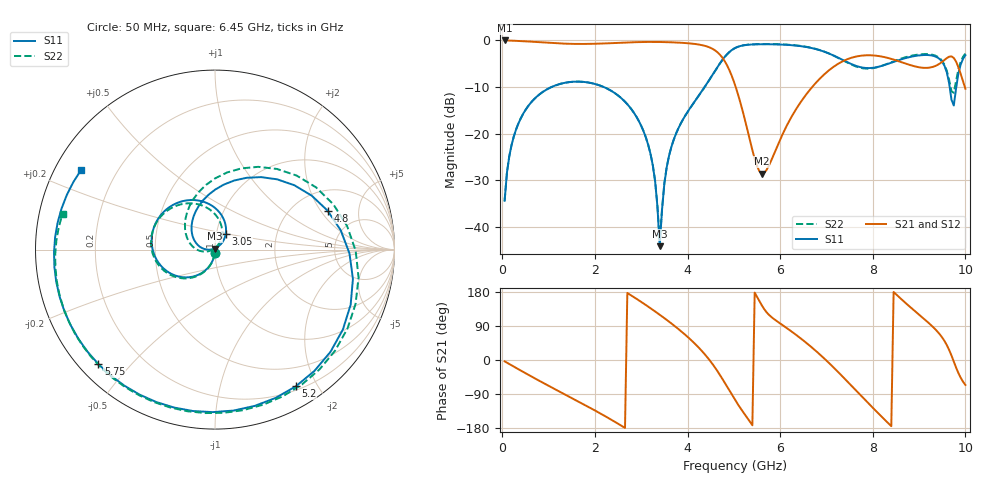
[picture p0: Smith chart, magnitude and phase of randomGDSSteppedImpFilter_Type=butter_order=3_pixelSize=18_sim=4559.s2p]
! freq	dB(S11)	phase(S11)	dB(S12)	phase(S12)
!  dB(S21)	phase(S21)	dB(S22)	phase(S22)
!S-par simulation data
#  GHz  S  DB  R 50
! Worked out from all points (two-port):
!   200 points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, 50 MHz to 10 GHz, reference 50 ohm
!   highest |S21| = 0.00 dB at 50 MHz (marker M1); lowest = -28.5 dB at 5.6 GHz (marker M2)
!   |S21| within 3 dB of the highest: start of sweep to 4.694 GHz
!   lowest |S11| = -44.1 dB at 3.4 GHz (marker M3), VSWR 1.01, Z = 49.8 + j0.589 ohm
!   |S11| at or under -10 dB: start of sweep to 1.059 GHz; 2.196 GHz to 4.367 GHz (2.171 GHz wide, 66.2 % of centre); 9.661 GHz to 9.803 GHz (141.7 MHz wide, 1.46 % of centre)
!   |S22| runs from -43.0 to -0.8 dB; largest |S21 - S12| = 0
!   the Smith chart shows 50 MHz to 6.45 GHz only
!   S11 on the Smith chart (normalised r, x): 50 MHz: 1.00, -0.04; 3.05 GHz: 1.11, +0.20; 4.8 GHz: 3.00, +2.33; 5.2 GHz: 0.25, -1.73; 5.75 GHz: 0.05, -0.41; 6.45 GHz: 0.08, +0.27
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0.05  -34.36 -93.4  -0.00 -3.5  -0.00 -3.5  -34.36 -93.3
0.5  -14.91 -126.0  -0.19 -34.8  -0.19 -34.8  -14.91 -124.5
1.75  -8.88 150.3  -0.75 -116.6  -0.75 -116.6  -8.88 155.9
3.05  -19.45 55.8  -0.33 149.2  -0.33 149.2  -19.45 67.8
3.3  -30.15 42.6  -0.32 128.1  -0.32 128.1  -30.11 57.4
3.4  -44.08 108.9  -0.33 119.4  -0.33 119.4  -43.01 123.0
3.65  -22.85 173.5  -0.40 96.6  -0.40 96.6  -22.85 -171.8
4.35  -10.25 96.9  -1.09 18.3  -1.09 18.3  -10.29 113.2
4.8  -3.56 19.1  -4.39 -59.4  -4.39 -59.4  -3.59 31.6
5.05  -1.51 -32.0  -10.28 -110.0  -10.28 -110.0  -1.52 -21.1
5.2  -1.06 -59.4  -15.48 -137.3  -15.48 -137.3  -1.05 -48.9
5.6  -0.81 -117.5  -28.51 145.1  -28.51 145.1  -0.78 -106.0
5.75  -0.81 -135.5  -26.96 120.2  -26.96 120.2  -0.77 -123.2
6.45  -1.23 149.2  -13.12 56.4  -13.12 56.4  -1.18 166.7
6.7  -1.67 122.0  -9.88 31.5  -9.88 31.5  -1.64 141.5
7.5  -4.89 25.4  -3.84 -62.8  -3.84 -62.8  -5.00 45.7
7.9  -5.92 -25.5  -3.17 -113.4  -3.17 -113.4  -6.04 -10.3
8.35  -4.95 -84.0  -3.81 -168.7  -3.81 -168.7  -4.86 -69.8
9  -3.21 -162.3  -5.75 119.6  -5.75 119.6  -3.00 -138.1
9.45  -4.04 144.1  -4.93 67.3  -4.93 67.3  -3.85 178.6
9.75  -13.94 162.2  -3.76 -4.3  -3.76 -4.3  -11.22 -162.1
10  -3.17 157.9  -10.35 -65.9  -10.35 -65.9  -2.82 -164.8
